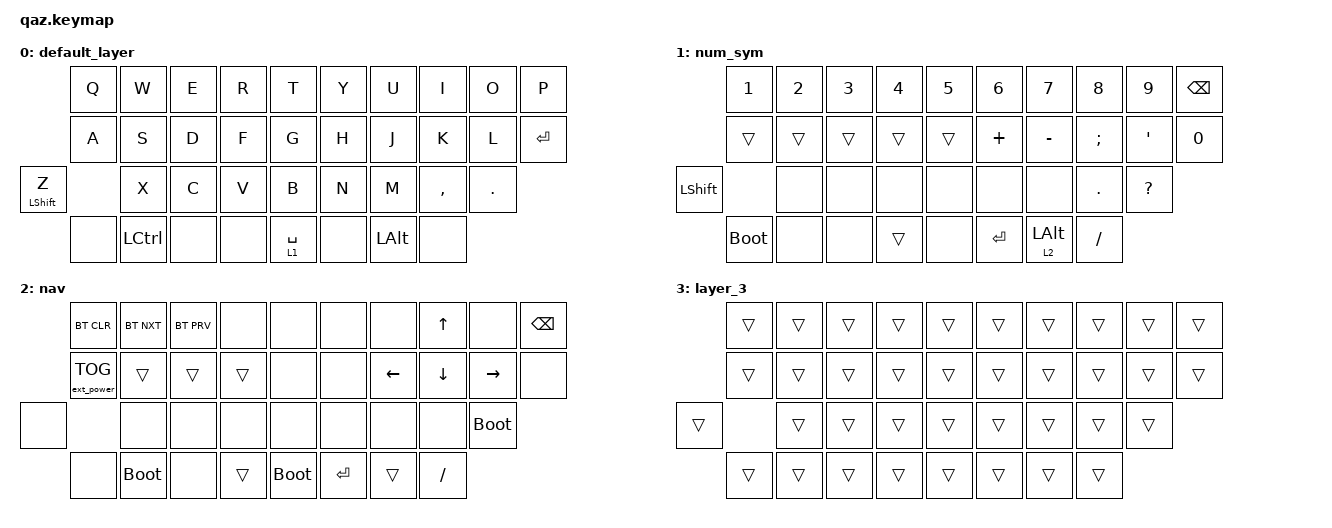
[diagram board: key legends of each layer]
/*
 * Copyright (c) 2020 The ZMK Contributors
 *
 * SPDX-License-Identifier: MIT
 */

#include <behaviors.dtsi>
#include <dt-bindings/zmk/bt.h>
#include <dt-bindings/zmk/ext_power.h>
#include <dt-bindings/zmk/keys.h>

#define DEFAULT 0
#define NUM_SYM 1
#define NAV     2

/ {
    behaviors {
        hm: homerow_mods {
            compatible = "zmk,behavior-hold-tap";
            label = "homerow mods";
            #binding-cells = <2>;
            tapping-term-ms = <225>;
            flavor = "tap-preferred";
            bindings =
                <&kp>,
                <&kp>;
        };
    };
};

/ {
    keymap {
        compatible = "zmk,keymap";

        default_layer {
            bindings = <
           &kp Q      &kp W  &kp E  &kp R        &kp T  &kp Y     &kp U      &kp I    &kp O      &kp P
           &kp A      &kp S  &kp D  &kp F        &kp G  &kp H     &kp J      &kp K    &kp L  &kp ENTER
&mt LEFT_SHIFT Z      &kp X  &kp C  &kp V        &kp B  &kp N     &kp M  &kp COMMA  &kp DOT
           &none  &kp LCTRL  &none  &none  &lt 1 SPACE  &none  &kp LALT      &none
            >;
        };

        num_sym {
            bindings = <
        &kp N1  &kp N2  &kp N3  &kp N4  &kp N5    &kp N6          &kp N7    &kp N8        &kp N9  &kp BACKSPACE
        &trans  &trans  &trans  &trans  &trans  &kp PLUS       &kp MINUS  &kp SEMI      &kp APOS         &kp N0
&kp LEFT_SHIFT   &none   &none   &none   &none     &none           &none   &kp DOT  &kp QUESTION
   &bootloader   &none   &none  &trans   &none   &kp RET  &lt 2 LEFT_ALT  &kp FSLH
            >;
        };

        nav {
            bindings = <
       &bt BT_CLR   &bt BT_NXT  &bt BT_PRV   &none        &none    &none     &none    &kp UP        &none  &kp BSPC
&ext_power EP_TOG       &trans      &trans  &trans        &none    &none  &kp LEFT  &kp DOWN    &kp RIGHT     &none
            &none        &none       &none   &none        &none    &none     &none     &none  &bootloader
            &none  &bootloader       &none  &trans  &bootloader  &kp RET    &trans  &kp FSLH
            >;
        };

        layer_3 {
            bindings = <
&trans  &trans  &trans  &trans  &trans  &trans  &trans  &trans  &trans  &trans
&trans  &trans  &trans  &trans  &trans  &trans  &trans  &trans  &trans  &trans
&trans  &trans  &trans  &trans  &trans  &trans  &trans  &trans  &trans
&trans  &trans  &trans  &trans  &trans  &trans  &trans  &trans
            >;
        };
    };
};
